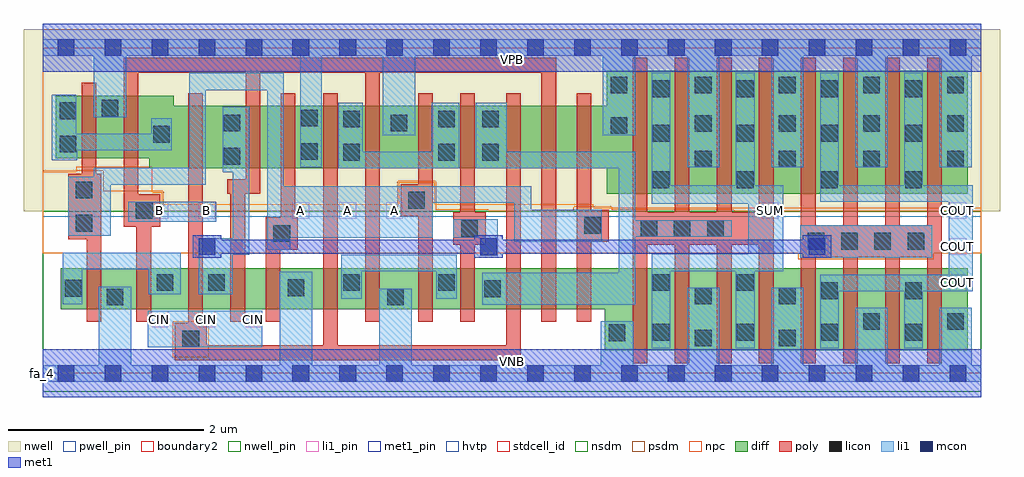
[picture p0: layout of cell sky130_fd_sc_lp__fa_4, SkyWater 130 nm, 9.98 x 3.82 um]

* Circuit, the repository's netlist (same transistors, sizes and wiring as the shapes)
* Copyright 2020 The SkyWater PDK Authors
*
* Licensed under the Apache License, Version 2.0 (the "License");
* you may not use this file except in compliance with the License.
* You may obtain a copy of the License at
*
*     https://www.apache.org/licenses/LICENSE-2.0
*
* Unless required by applicable law or agreed to in writing, software
* distributed under the License is distributed on an "AS IS" BASIS,
* WITHOUT WARRANTIES OR CONDITIONS OF ANY KIND, either express or implied.
* See the License for the specific language governing permissions and
* limitations under the License.
*
* SPDX-License-Identifier: Apache-2.0

.SUBCKT sky130_fd_sc_lp__fa_4 A B CIN VGND VNB VPB VPWR COUT SUM
*.PININFO A:I B:I CIN:I VGND:I VNB:I VPB:I VPWR:I COUT:O SUM:O
MMIN2 COUT majb VGND VNB sky130_fd_pr__nfet_01v8 m=4 w=0.84U l=0.15U mult=1 sa=0.265
+ sb=0.265 sd=0.28 area=0.063 perim=1.14
MMIN3 SUM sumb VGND VNB sky130_fd_pr__nfet_01v8 m=4 w=0.84U l=0.15U mult=1 sa=0.265
+ sb=0.265 sd=0.28 area=0.063 perim=1.14
MMNmaj10 majb B sndNAp1 VNB sky130_fd_pr__nfet_01v8 m=1 w=0.42U l=0.15U mult=1
+ sa=0.265 sb=0.265 sd=0.28 area=0.063 perim=1.14
MMNmaj11 sndNAp1 A VGND VNB sky130_fd_pr__nfet_01v8 m=1 w=0.42U l=0.15U mult=1
+ sa=0.265 sb=0.265 sd=0.28 area=0.063 perim=1.14
MMNmaj30 majb CIN nmajmid VNB sky130_fd_pr__nfet_01v8 m=1 w=0.42U l=0.15U mult=1
+ sa=0.265 sb=0.265 sd=0.28 area=0.063 perim=1.14
MMNmaj21 nmajmid A VGND VNB sky130_fd_pr__nfet_01v8 m=1 w=0.42U l=0.15U mult=1
+ sa=0.265 sb=0.265 sd=0.28 area=0.063 perim=1.14
MMNmaj20 VGND B nmajmid VNB sky130_fd_pr__nfet_01v8 m=1 w=0.42U l=0.15U mult=1
+ sa=0.265 sb=0.265 sd=0.28 area=0.063 perim=1.14
MMNs2s0 VGND A sndNAn4 VNB sky130_fd_pr__nfet_01v8 m=1 w=0.42U l=0.15U mult=1 sa=0.265
+ sb=0.265 sd=0.28 area=0.063 perim=1.14
MMNs2s1 sndNAn4 B sndNBn4 VNB sky130_fd_pr__nfet_01v8 m=1 w=0.42U l=0.15U mult=1
+ sa=0.265 sb=0.265 sd=0.28 area=0.063 perim=1.14
MMNs2s2 sndNBn4 CIN sumb VNB sky130_fd_pr__nfet_01v8 m=1 w=0.42U l=0.15U mult=1
+ sa=0.265 sb=0.265 sd=0.28 area=0.063 perim=1.14
MMNs3s0 nint1 A VGND VNB sky130_fd_pr__nfet_01v8 m=1 w=0.42U l=0.15U mult=1 sa=0.265
+ sb=0.265 sd=0.28 area=0.063 perim=1.14
MMNs3s1 nint1 B VGND VNB sky130_fd_pr__nfet_01v8 m=1 w=0.42U l=0.15U mult=1 sa=0.265
+ sb=0.265 sd=0.28 area=0.063 perim=1.14
MMNs3s2 nint1 CIN VGND VNB sky130_fd_pr__nfet_01v8 m=1 w=0.42U l=0.15U mult=1 sa=0.265
+ sb=0.265 sd=0.28 area=0.063 perim=1.14
MMNs1s nint1 majb sumb VNB sky130_fd_pr__nfet_01v8 m=1 w=0.42U l=0.15U mult=1 sa=0.265
+ sb=0.265 sd=0.28 area=0.063 perim=1.14
MMIP2 COUT majb VPWR VPB sky130_fd_pr__pfet_01v8_hvt m=4 w=1.26U l=0.15U mult=1
+ sa=0.265 sb=0.265 sd=0.28 area=0.063 perim=1.14
MMIP3 SUM sumb VPWR VPB sky130_fd_pr__pfet_01v8_hvt m=4 w=1.26U l=0.15U mult=1
+ sa=0.265 sb=0.265 sd=0.28 area=0.063 perim=1.14
MMPmaj10 VPWR A sndPAp1 VPB sky130_fd_pr__pfet_01v8_hvt m=1 w=0.64U l=0.15U mult=1
+ sa=0.265 sb=0.265 sd=0.28 area=0.063 perim=1.14
MMPmaj11 sndPAp1 B majb VPB sky130_fd_pr__pfet_01v8_hvt m=1 w=0.64U l=0.15U mult=1
+ sa=0.265 sb=0.265 sd=0.28 area=0.063 perim=1.14
MMPmaj20 VPWR B pmajmid VPB sky130_fd_pr__pfet_01v8_hvt m=1 w=0.64U l=0.15U mult=1
+ sa=0.265 sb=0.265 sd=0.28 area=0.063 perim=1.14
MMPmaj30 pmajmid CIN majb VPB sky130_fd_pr__pfet_01v8_hvt m=1 w=0.64U l=0.15U mult=1
+ sa=0.265 sb=0.265 sd=0.28 area=0.063 perim=1.14
MMPmaj21 pmajmid A VPWR VPB sky130_fd_pr__pfet_01v8_hvt m=1 w=0.64U l=0.15U mult=1
+ sa=0.265 sb=0.265 sd=0.28 area=0.063 perim=1.14
MMPs2s0 VPWR A sndPAp4 VPB sky130_fd_pr__pfet_01v8_hvt m=1 w=0.64U l=0.15U mult=1
+ sa=0.265 sb=0.265 sd=0.28 area=0.063 perim=1.14
MMPs2s1 sndPAp4 B sndPBp4 VPB sky130_fd_pr__pfet_01v8_hvt m=1 w=0.64U l=0.15U mult=1
+ sa=0.265 sb=0.265 sd=0.28 area=0.063 perim=1.14
MMPs2s2 sndPBp4 CIN sumb VPB sky130_fd_pr__pfet_01v8_hvt m=1 w=0.64U l=0.15U mult=1
+ sa=0.265 sb=0.265 sd=0.28 area=0.063 perim=1.14
MMPs3s0 pint1 A VPWR VPB sky130_fd_pr__pfet_01v8_hvt m=1 w=0.64U l=0.15U mult=1
+ sa=0.265 sb=0.265 sd=0.28 area=0.063 perim=1.14
MMPs3s1 pint1 B VPWR VPB sky130_fd_pr__pfet_01v8_hvt m=1 w=0.64U l=0.15U mult=1
+ sa=0.265 sb=0.265 sd=0.28 area=0.063 perim=1.14
MMPs3s2 pint1 CIN VPWR VPB sky130_fd_pr__pfet_01v8_hvt m=1 w=0.64U l=0.15U mult=1
+ sa=0.265 sb=0.265 sd=0.28 area=0.063 perim=1.14
MMPs1s pint1 majb sumb VPB sky130_fd_pr__pfet_01v8_hvt m=1 w=0.64U l=0.15U mult=1
+ sa=0.265 sb=0.265 sd=0.28 area=0.063 perim=1.14
.ENDS sky130_fd_sc_lp__fa_4

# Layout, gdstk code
import gdstk
lib = gdstk.Library(unit=1e-6, precision=1e-09)
def R(c, l, rs):  # rectangles x0, y0, x1, y1
    for r in rs: c.add(gdstk.rectangle(r[:2], r[2:], *l))
def A(c, l, x, y, w, h, nx, ny, dx, dy):  # array of equal rectangles
    R(c, l, [(x+i*dx, y+j*dy, x+i*dx+w, y+j*dy+h) for i in range(nx) for j in range(ny)])
def P(c, l, *ps):  # polygons
    for p in ps: c.add(gdstk.Polygon(p, *l))
nwell_pin = (64, 16)
nwell = (64, 20)
diff = (65, 20)
poly = (66, 20)
licon = (66, 44)
li1_pin = (67, 16)
li1 = (67, 20)
mcon = (67, 44)
met1_pin = (68, 16)
met1 = (68, 20)
hvtp = (78, 44)
stdcell_id = (81, 4)
nsdm = (93, 44)
psdm = (94, 20)
npc = (95, 20)
pwell_pin = (122, 16)
boundary2 = (236, 0)

sky130_fd_sc_lp__fa_4 = lib.new_cell('sky130_fd_sc_lp__fa_4')
R(sky130_fd_sc_lp__fa_4, nwell_pin, [(0,3.085,9.6,3.33)])
R(sky130_fd_sc_lp__fa_4, nwell, [(-0.19,1.655,9.79,3.52)])
P(sky130_fd_sc_lp__fa_4, diff, [(9.46,3.095),(5.77,3.095),(5.77,2.735),(1.34,2.735),(1.34,2.84),(0.135,2.84),(0.135,2.2),(1.09,2.2),(1.09,2.095),(5.77,2.095),(5.77,1.835),(9.46,1.835)],
  [(9.46,1.075),(0.185,1.075),(0.185,0.655),(5.75,0.655),(5.75,0.235),(9.46,0.235)])
P(sky130_fd_sc_lp__fa_4, poly, [(0.6,2.04),(0.55,2.04),(0.55,2.97),(0.4,2.97),(0.4,2.04),(0.26,2.04),(0.26,1.37),(0.45,1.37),(0.45,0.525),(0.6,0.525)],
  [(2.61,1.595),(2.585,1.595),(2.585,2.865),(2.435,2.865),(2.435,1.595),(2.28,1.595),(2.28,0.525),(2.43,0.525),(2.43,1.265),(2.61,1.265)],
  [(3.99,2.865),(3.84,2.865),(3.84,1.935),(3.66,1.935),(3.66,1.605),(3.84,1.605),(3.84,0.525),(3.99,0.525)],
  [(4.53,1.645),(4.42,1.645),(4.42,2.865),(4.27,2.865),(4.27,1.645),(4.2,1.645),(4.2,1.315),(4.27,1.315),(4.27,0.525),(4.42,0.525),(4.42,1.315),(4.53,1.315)],
  [(4.89,2.865),(4.74,2.865),(4.74,0.285),(3.02,0.285),(3.02,2.865),(2.87,2.865),(2.87,0.285),(1.68,0.285),(1.68,0.515),(1.64,0.515),(1.64,2.865),(1.49,2.865),(1.49,0.515),(1.35,0.515),(1.35,0.135),(4.89,0.135)],
  [(5.25,3.225),(0.83,3.225),(0.83,1.5),(0.96,1.5),(0.96,0.525),(1.11,0.525),(1.11,1.5),(1.205,1.5),(1.205,1.83),(0.98,1.83),(0.98,3.075),(2.075,3.075),(2.075,1.985),(1.89,1.985),(1.89,1.835),(1.92,1.835),(1.92,0.525),(2.07,0.525),(2.07,1.835),(2.225,1.835),(2.225,3.075),(3.3,3.075),(3.3,0.525),(3.45,0.525),(3.45,3.075),(5.1,3.075),(5.1,0.525),(5.25,0.525)],
  [(5.79,1.675),(5.61,1.675),(5.61,2.865),(5.46,2.865),(5.46,0.525),(5.61,0.525),(5.61,1.345),(5.79,1.345)],
  [(7.475,3.225),(7.325,3.225),(7.325,1.645),(7.045,1.645),(7.045,3.225),(6.895,3.225),(6.895,1.645),(6.615,1.645),(6.615,3.225),(6.465,3.225),(6.465,1.645),(6.185,1.645),(6.185,3.225),(6.035,3.225),(6.035,0.105),(6.185,0.105),(6.185,1.315),(6.465,1.315),(6.465,0.105),(6.615,0.105),(6.615,1.315),(6.895,1.315),(6.895,0.105),(7.045,0.105),(7.045,1.315),(7.325,1.315),(7.325,0.105),(7.475,0.105)],
  [(9.195,3.225),(9.045,3.225),(9.045,1.515),(8.765,1.515),(8.765,3.225),(8.615,3.225),(8.615,1.515),(8.335,1.515),(8.335,3.225),(8.185,3.225),(8.185,1.515),(7.905,1.515),(7.905,3.225),(7.755,3.225),(7.755,1.515),(7.745,1.515),(7.745,1.185),(7.755,1.185),(7.755,0.105),(7.905,0.105),(7.905,1.185),(8.185,1.185),(8.185,0.105),(8.335,0.105),(8.335,1.185),(8.615,1.185),(8.615,0.105),(8.765,0.105),(8.765,1.185),(9.045,1.185),(9.045,0.105),(9.195,0.105)])
A(sky130_fd_sc_lp__fa_4, licon, 6.24, 0.335, 0.17, 0.17, 4, 2, 0.86, 1.56)
A(sky130_fd_sc_lp__fa_4, licon, 7.825, 1.265, 0.17, 0.17, 4, 1, 0.34, 0)
A(sky130_fd_sc_lp__fa_4, licon, 6.115, 1.395, 0.17, 0.17, 3, 1, 0.34, 0)
A(sky130_fd_sc_lp__fa_4, licon, 6.67, 2.105, 0.17, 0.17, 4, 2, 0.86, 0.365)
A(sky130_fd_sc_lp__fa_4, licon, 6.24, 2.37, 0.17, 0.17, 4, 2, 0.86, 0.455)
A(sky130_fd_sc_lp__fa_4, licon, 5.81, 2.865, 0.17, 0.17, 5, 1, 0.86, 0)
R(sky130_fd_sc_lp__fa_4, licon, [(1.43,0.265,1.6,0.435), (6.67,0.275,6.84,0.445), (7.53,0.275,7.7,0.445), (5.79,0.33,5.96,0.5), (8.39,0.445,8.56,0.615), (9.25,0.445,9.42,0.615), (0.655,0.695,0.825,0.865), (3.525,0.695,3.695,0.865), (6.67,0.705,6.84,0.875), (7.53,0.705,7.7,0.875), (7.96,0.76,8.13,0.93), (8.82,0.76,8.99,0.93), (4.515,0.78,4.685,0.95), (0.225,0.785,0.395,0.955), (2.505,0.79,2.675,0.96), (1.165,0.845,1.335,1.015), (1.695,0.845,1.865,1.015), (3.075,0.845,3.245,1.015), (4.045,0.845,4.215,1.015), (6.24,0.845,6.41,1.015), (7.1,0.845,7.27,1.015), (2.36,1.345,2.53,1.515), (4.28,1.395,4.45,1.565), (5.54,1.425,5.71,1.595), (0.34,1.45,0.51,1.62), (0.955,1.58,1.125,1.75), (3.74,1.685,3.91,1.855), (0.34,1.79,0.51,1.96), (1.85,2.135,2.02,2.305), (3.075,2.175,3.245,2.345), (4.045,2.175,4.215,2.345), (4.495,2.175,4.665,2.345), (2.645,2.185,2.815,2.355), (0.175,2.26,0.345,2.43), (1.13,2.36,1.3,2.53), (5.81,2.45,5.98,2.62), (1.85,2.475,2.02,2.645), (3.56,2.475,3.73,2.645), (3.075,2.515,3.245,2.685), (4.045,2.515,4.215,2.685), (4.495,2.515,4.665,2.685), (2.645,2.525,2.815,2.695), (0.175,2.6,0.345,2.77), (0.605,2.63,0.775,2.8)])
A(sky130_fd_sc_lp__fa_4, li1_pin, 1.115, 0.47, 0.17, 0.17, 3, 1, 0.48, 0)
A(sky130_fd_sc_lp__fa_4, li1_pin, 9.275, 0.84, 0.17, 0.17, 1, 3, 0, 0.37)
A(sky130_fd_sc_lp__fa_4, li1_pin, 2.555, 1.58, 0.17, 0.17, 3, 1, 0.48, 0)
R(sky130_fd_sc_lp__fa_4, li1_pin, [(1.115,1.58,1.285,1.75), (1.595,1.58,1.765,1.75), (7.355,1.58,7.525,1.75)])
R(sky130_fd_sc_lp__fa_4, li1, [(1.075,0.265,2.245,0.64), (7.745,1.18,9.095,1.515), (0.875,1.55,1.775,1.755)])
P(sky130_fd_sc_lp__fa_4, li1, [(3.48,2.435),(3.48,3.245),(2.855,3.245),(2.855,2.105),(2.635,2.105),(2.635,3.245),(0.855,3.245),(0.855,2.62),(0.525,2.62),(0.525,3.245),(0,3.245),(0,3.415),(9.6,3.415),(9.6,3.245),(9.5,3.245),(9.5,2.105),(9.17,2.105),(9.17,3.245),(8.64,3.245),(8.64,2.105),(8.31,2.105),(8.31,3.245),(7.78,3.245),(7.78,2.105),(7.45,2.105),(7.45,3.245),(6.92,3.245),(6.92,2.105),(6.59,2.105),(6.59,3.245),(6.06,3.245),(6.06,2.435),(5.73,2.435),(5.73,3.245),(3.81,3.245),(3.81,2.435)],
  [(2.425,0.085),(2.425,1.04),(2.755,1.04),(2.755,0.085),(3.445,0.085),(3.445,0.865),(3.775,0.865),(3.775,0.085),(5.71,0.085),(5.71,0.53),(6.04,0.53),(6.04,0.085),(6.59,0.085),(6.59,0.875),(6.92,0.875),(6.92,0.085),(7.45,0.085),(7.45,0.875),(7.78,0.875),(7.78,0.085),(8.31,0.085),(8.31,0.67),(8.64,0.67),(8.64,0.085),(9.17,0.085),(9.17,0.67),(9.5,0.67),(9.5,0.085),(9.6,0.085),(9.6,-0.085),(0,-0.085),(0,0.085),(0.575,0.085),(0.575,0.885),(0.905,0.885),(0.905,0.085)],
  [(2.465,3.075),(2.465,1.915),(4.995,1.915),(4.995,1.675),(5.72,1.675),(5.72,1.345),(4.825,1.345),(4.825,1.745),(3.99,1.745),(3.99,1.385),(2.53,1.385),(2.53,1.265),(2.295,1.265),(2.295,2.895),(1.67,2.895),(1.67,1.93),(0.695,1.93),(0.695,1.405),(0.26,1.405),(0.26,2.01),(0.525,2.01),(0.525,2.1),(1.5,2.1),(1.5,3.075)],
  [(4.475,1.2),(4.475,1.385),(4.2,1.385),(4.2,1.575),(4.655,1.575),(4.655,1.2)],
  [(8.14,1.925),(8.81,1.925),(8.81,3.075),(9,3.075),(9,1.925),(9.51,1.925),(9.51,0.84),(9,0.84),(9,0.255),(8.81,0.255),(8.81,0.84),(8.14,0.84),(8.14,0.255),(7.95,0.255),(7.95,1.01),(9.265,1.01),(9.265,1.755),(7.95,1.755),(7.95,3.075),(8.14,3.075)],
  [(6.42,1.925),(7.09,1.925),(7.09,3.075),(7.28,3.075),(7.28,1.925),(7.575,1.925),(7.575,1.045),(7.28,1.045),(7.28,0.255),(7.09,0.255),(7.09,1.045),(6.42,1.045),(6.42,0.255),(6.23,0.255),(6.23,1.225),(7.215,1.225),(7.215,1.735),(6.23,1.735),(6.23,3.075),(6.42,3.075)],
  [(4.745,2.265),(6.06,2.265),(6.06,1.565),(7.045,1.565),(7.045,1.395),(6.06,1.395),(6.06,0.7),(4.495,0.7),(4.495,1.03),(5.89,1.03),(5.89,2.095),(4.43,2.095),(4.43,2.765),(4.745,2.765)],
  [(3.275,2.265),(3.98,2.265),(3.98,2.765),(4.26,2.765),(4.26,2.095),(3.025,2.095),(3.025,2.765),(3.275,2.765)],
  [(1.945,1.38),(1.945,2.055),(1.84,2.055),(1.84,2.725),(2.115,2.725),(2.115,1.21),(1.945,1.21),(1.945,0.81),(1.595,0.81),(1.595,1.38)],
  [(0.345,2.45),(1.11,2.45),(1.11,2.61),(1.32,2.61),(1.32,2.28),(0.355,2.28),(0.355,2.18),(0.095,2.18),(0.095,2.85),(0.345,2.85)],
  [(4.025,1.045),(3.265,1.045),(3.265,0.765),(3.055,0.765),(3.055,1.215),(4.235,1.215),(4.235,0.765),(4.025,0.765)],
  [(1.085,1.065),(0.405,1.065),(0.405,0.705),(0.205,0.705),(0.205,1.235),(1.415,1.235),(1.415,0.81),(1.085,0.81)])
A(sky130_fd_sc_lp__fa_4, mcon, 0.155, -0.085, 0.17, 0.17, 20, 2, 0.48, 3.33)
R(sky130_fd_sc_lp__fa_4, mcon, [(1.595,1.21,1.765,1.38), (4.475,1.21,4.645,1.38), (7.835,1.21,8.005,1.38)])
R(sky130_fd_sc_lp__fa_4, met1_pin, [(0,0,9.6,0.245), (0,3.085,9.6,3.33)])
R(sky130_fd_sc_lp__fa_4, met1, [(0,-0.245,9.6,0.245), (0,3.085,9.6,3.575)])
P(sky130_fd_sc_lp__fa_4, met1, [(4.705,1.365),(7.775,1.365),(7.775,1.41),(8.065,1.41),(8.065,1.18),(7.775,1.18),(7.775,1.225),(4.705,1.225),(4.705,1.18),(4.415,1.18),(4.415,1.225),(1.825,1.225),(1.825,1.18),(1.535,1.18),(1.535,1.41),(1.825,1.41),(1.825,1.365),(4.415,1.365),(4.415,1.41),(4.705,1.41)])
R(sky130_fd_sc_lp__fa_4, hvtp, [(0,1.6,9.6,3.33)])
R(sky130_fd_sc_lp__fa_4, stdcell_id, [(0,0,9.6,3.33)])
R(sky130_fd_sc_lp__fa_4, nsdm, [(0,-0.19,9.6,1.655)])
P(sky130_fd_sc_lp__fa_4, psdm, [(9.6,3.52),(0,3.52),(0,2.07),(0.62,2.07),(0.62,1.86),(1.235,1.86),(1.235,1.655),(3.63,1.655),(3.63,1.965),(4.02,1.965),(4.02,1.675),(4.56,1.675),(4.56,1.655),(5.43,1.655),(5.43,1.705),(5.82,1.705),(5.82,1.675),(7.075,1.675),(7.075,1.655),(9.6,1.655)])
R(sky130_fd_sc_lp__fa_4, npc, [(1.33,0.165,1.7,0.535)])
P(sky130_fd_sc_lp__fa_4, npc, [(9.6,1.695),(5.63,1.695),(5.63,1.73),(4.01,1.73),(4.01,1.955),(3.64,1.955),(3.64,1.73),(1.225,1.73),(1.225,1.85),(1.12,1.85),(1.12,2.11),(0.345,2.11),(0.345,2.06),(0,2.06),(0,1.23),(7.725,1.23),(7.725,1.165),(9.115,1.165),(9.115,1.23),(9.6,1.23)])
R(sky130_fd_sc_lp__fa_4, pwell_pin, [(0,0,9.6,0.245)])
R(sky130_fd_sc_lp__fa_4, boundary2, [(0,0,9.6,3.33)])
sky130_fd_sc_lp__fa_4.add(gdstk.Label('VNB', (4.8,0.123), layer=64, texttype=59))
sky130_fd_sc_lp__fa_4.add(gdstk.Label('VPB', (4.8,3.208), layer=64, texttype=5))
sky130_fd_sc_lp__fa_4.add(gdstk.Label('fa_4', (0,0), layer=83, texttype=44))
sky130_fd_sc_lp__fa_4.add(gdstk.Label('VPWR', (4.8,3.208), layer=68, texttype=5))
sky130_fd_sc_lp__fa_4.add(gdstk.Label('VGND', (4.8,0.123), layer=68, texttype=5))
sky130_fd_sc_lp__fa_4.add(gdstk.Label('B', (1.2,1.665), layer=67, texttype=5))
sky130_fd_sc_lp__fa_4.add(gdstk.Label('B', (1.68,1.665), layer=67, texttype=5))
sky130_fd_sc_lp__fa_4.add(gdstk.Label('A', (2.64,1.665), layer=67, texttype=5))
sky130_fd_sc_lp__fa_4.add(gdstk.Label('A', (3.12,1.665), layer=67, texttype=5))
sky130_fd_sc_lp__fa_4.add(gdstk.Label('A', (3.6,1.665), layer=67, texttype=5))
sky130_fd_sc_lp__fa_4.add(gdstk.Label('COUT', (9.36,0.925), layer=67, texttype=5))
sky130_fd_sc_lp__fa_4.add(gdstk.Label('COUT', (9.36,1.295), layer=67, texttype=5))
sky130_fd_sc_lp__fa_4.add(gdstk.Label('COUT', (9.36,1.665), layer=67, texttype=5))
sky130_fd_sc_lp__fa_4.add(gdstk.Label('SUM', (7.44,1.665), layer=67, texttype=5))
sky130_fd_sc_lp__fa_4.add(gdstk.Label('CIN', (1.2,0.555), layer=67, texttype=5))
sky130_fd_sc_lp__fa_4.add(gdstk.Label('CIN', (1.68,0.555), layer=67, texttype=5))
sky130_fd_sc_lp__fa_4.add(gdstk.Label('CIN', (2.16,0.555), layer=67, texttype=5))

lib.write_gds('sky130_fd_sc_lp__fa_4.gds')
